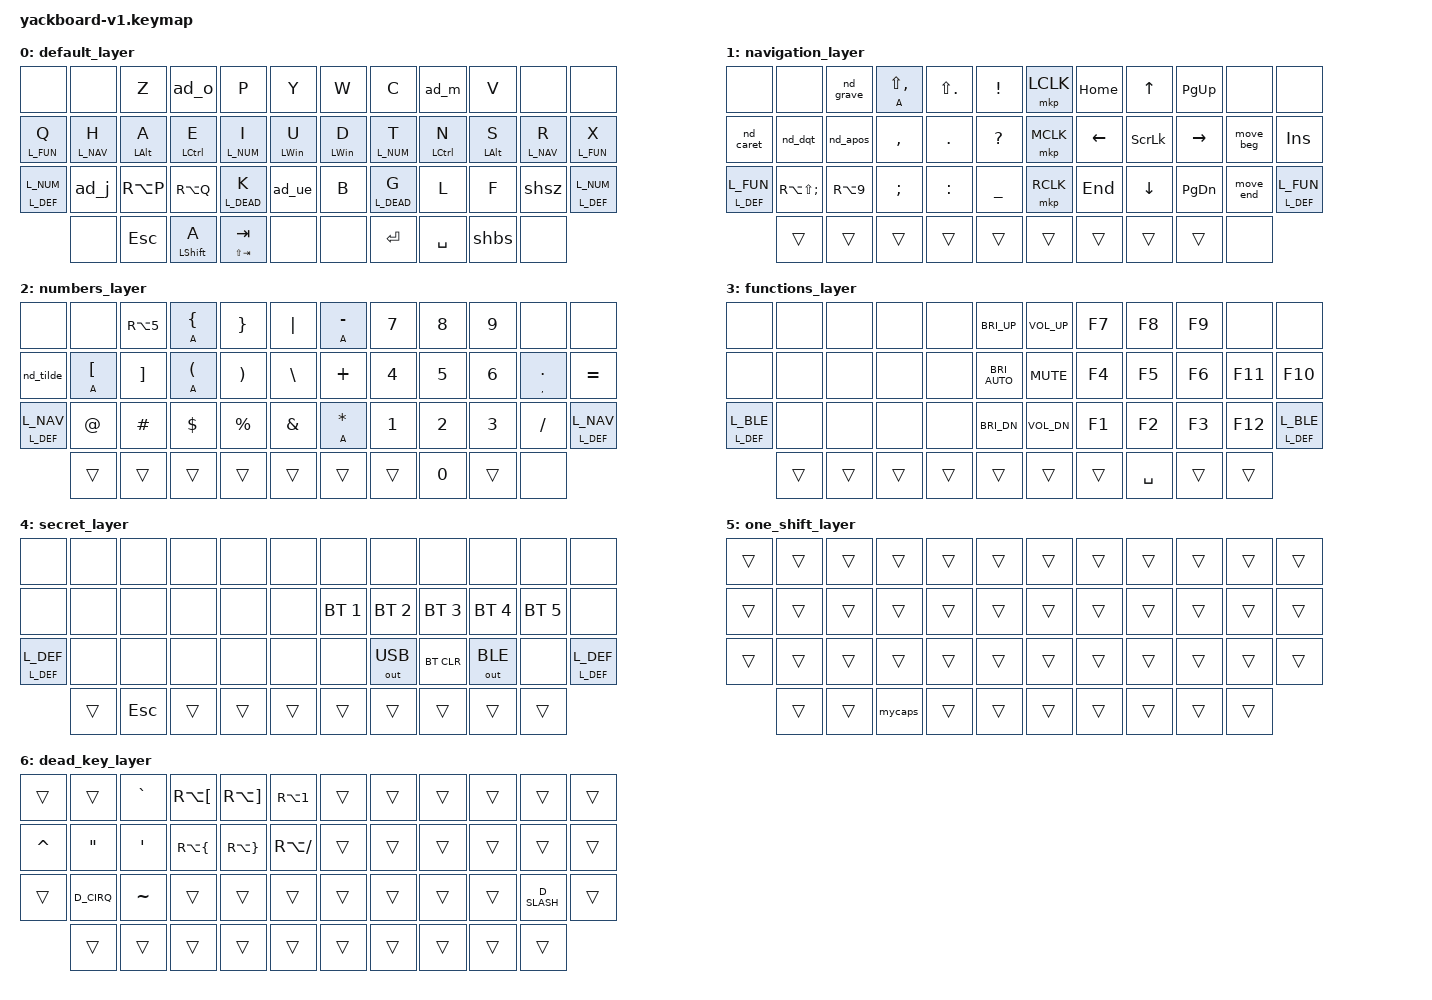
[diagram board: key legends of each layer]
// This is the key map of the Yackboard v1 with the improved OPY layout.

#include <behaviors.dtsi>
#include <dt-bindings/zmk/keys.h>
#include <dt-bindings/zmk/mouse.h>   // This is required when using &mkp mouse key events.
#include <dt-bindings/zmk/bt.h>      // This is required when using &bt bluetooth commands.
#include <dt-bindings/zmk/outputs.h> // This is required when using the &out output commands.

// The following are illegal keycodes (above 0x00ff) with usage page 0x07. They are automatically
// removed by the event handler of the "zmk,behavior-antecedent-morph" as soon as one such
// behavior is defined and so cannot print anything. But they can be used as antecedents in
// that behavior and modify the subsequent key. For example, the slash can act as a dead key
// and modify the subsequent o to an ø.
#define D_SLASH 0x070100
#define D_CIRQ  0x070101

// The position codes of the left, right and thumb keys:
#define POSITION_L  0  1  2  3  4  5 12 13 14 15 16 17 24 25 26 27 28 29
#define POSITION_R  6  7  8  9 10 11 18 19 20 21 22 23 30 31 32 33 34 35
#define POSITION_T 36 37 38 39 40 41 42 43 44 45

// The dedicated shift key has got the following functions:
// - If held down, it is the shift modifier. The modifier is immediately active, and so mouse buttons can be pressed together with shift (hold-while-undecided).
// - If held down, but no other key is tapped, it reverts to the default layer (note that this requires my version of th custom retro-tap patch.
// - If tapped once, it is a one-shot shift, i.e. applies shift to the subsequent key.
// - If tapped twice, it is my flavour of caps word, i.e. it capitalizes the subsequent word (including the underscore).
//
// This is implemented as follows:
// - First, there is a hold-tap with hold the LSHFT and tap the sticky key explained in the following. This hold-tap has a custom retro-tap behaviour which resets the layer to default.
// - The sticky key produces a one-shot version of a macro that applies the following two modifiers.
// - The shift modifier (for the one-shot shift) and the momentarily applied special layer L_SHF (which does nothing other than modifying the behaviour of the shift key) for the following reason:
// - On the special layer L_SHF the shift key is my flavour of caps-word - otherwise that layer is transparent. This implements the second tap behavior of the shift key.
// - The outer hold-tap has all features of urob's Timeless Homerow Mods that are explained in the subsequent block. In addition, there is hold-while-undecided and the custom retro-tap,
//   but to require-prior-idle-ms.

/ {
  macros {
    macro_shf: macro_layer_and_shift { // this macro applies the two modifiers when the shift key is tapped for the first time
      compatible = "zmk,behavior-macro";
      label = "MACRO_LAYER_AND_SHIFT";
      #binding-cells = <0>;
      wait-ms = <0>;
      tap-ms = <1>;
      bindings
      = <&macro_press   &mo L_SHF &kp LSHFT>
      , <&macro_pause_for_release>
      , <&macro_release &mo L_SHF &kp LSHFT>
      ;
    };
  };

  behaviors {
    sticky_shift: sticky_layer_and_shift { // this is the sticky behaviour of the macro when the dedicated shift key is pressed for the first time
      compatible = "zmk,behavior-sticky-key";
      label = "STICKY_LAYER_AND_SHIFT";
      #binding-cells = <1>;
      release-after-ms = <1000>;
      bindings = <&macro_shf>;
      ignore-modifiers;
    };
    hold_shift: hold_tap_shift { // this is the hold-tap for the dedicated shift key
      compatible = "zmk,behavior-hold-tap";
      label = "HOLD_TAP_SHIFT";
      #binding-cells = <2>;
      flavor = "balanced";
      tapping-term-ms = <280>;
      hold-while-undecided;
      bindings = <&kp>, <&sticky_shift>;
      retro-tap;
      retro-tap-behavior = "to_layer";
      retro-tap-param1 = <L_DEF>;
    };
    mycaps: behavior_my_caps_word { // my version of Caps Word includes the underscore as a letter.
      compatible = "zmk,behavior-caps-word";
      label = "MY_CAPS";
      #binding-cells = <0>;
      continue-list = <UNDER>;
    };
  };
};

// There are two variants of home row hold-tap modifiers: mod-tap for [Ctrl], [Alt] and [Win] and layer-tap for the keys
// that momentarily activate the number, navigation, function and dead key layers.
//
// If the tap binding is a key press, the key code is taken from the second parameter of the behavior. If the tap binding
// is another behavior, however, for example if the tap binding is an adaptive key, this must be defined as a separate
// behavior.
//
// The following ideas are from urob's Timeless Homerow Mods of https://github.com/urob/zmk-config:
//
// flavor = "balanced";
//   Tapping and releasing a second key triggers the hold behaviour even if the tapping-term-ms has not yet passed.
//
// require-prior-idle-ms = <150>;
//   The hold function can trigger only if at least this time has passed since the previous key press, i.e. when
//   typing fast, the hold function requires a tiny pause to activate.
//
// hold-trigger-key-positions = <...>;
//   All key position codes not listed here, i.e. those in the same block, require the full tapping-time-ms to
//   pass before the hold function can trigger.
//
// hold-trigger-on-release;
//   The tapping-time-ms for the hold-trigger-key-posititons is measured until the subsequent key is released,
//   i.e. it is possible to combine two modifiers on the same side of the key board and trigger a hold with
//   a third tapped key on the other side without waiting.
//
// tapping-term-ms = <280>;
//   In order to trigger a hold without pressing a second key or with pressing a key on the same side, this
//   period needs to pass.
//
// In addidion, I set a quick-tap time, and so if the key is tapped twice in rapid succession, the second key
// press is a tap even if the key is then held. This way, the key repeat function of the operating system
// can activete even on a hold-tap key.
//
// The following are all specializations of &ht.

/ {
  behaviors {
    mohtl: modifier_hold_tapl { // the home row modifiers on the left side
      compatible = "zmk,behavior-hold-tap";
      label = "MODIFIER_HOLD_TAP_L";
      #binding-cells = <2>;
      flavor = "balanced";
      tapping-term-ms = <280>;
      quick-tap-ms = <175>;
//      require-prior-idle-ms = <150>;
      hold-trigger-key-positions = <POSITION_R POSITION_T>;
      hold-trigger-on-release;
      bindings = <&kp>, <&kp>;
    };
    mohtr: modifier_hold_tapr { // the home row modifiers on the right side
      compatible = "zmk,behavior-hold-tap";
      label = "MODIFIER_HOLD_TAP_R";
      #binding-cells = <2>;
      flavor = "balanced";
      tapping-term-ms = <280>;
      quick-tap-ms = <175>;
//      require-prior-idle-ms = <150>;
      hold-trigger-key-positions = <POSITION_L POSITION_T>;
      hold-trigger-on-release;
      bindings = <&kp>, <&kp>;
    };
    mohta: modifier_hold_tapa { // the home row modifier for adaptive A
      compatible = "zmk,behavior-hold-tap";
      label = "MODIFIER_HOLD_TAP_A";
      #binding-cells = <2>;
      flavor = "balanced";
      tapping-term-ms = <280>;
      quick-tap-ms = <175>;
//      require-prior-idle-ms = <150>;
      hold-trigger-key-positions = <POSITION_R POSITION_T>;
      hold-trigger-on-release;
      bindings = <&kp>, <&ad_a>;
    };
    mohtu: modifier_hold_tapu { // the home row modifier for adaptive U
      compatible = "zmk,behavior-hold-tap";
      label = "MODIFIER_HOLD_TAP_U";
      #binding-cells = <2>;
      flavor = "balanced";
      tapping-term-ms = <280>;
      quick-tap-ms = <175>;
//      require-prior-idle-ms = <150>;
      hold-trigger-key-positions = <POSITION_R POSITION_T>;
      hold-trigger-on-release;
      bindings = <&kp>, <&ad_u>;
    };
    mohtn: modifier_hold_tapn { // the home row modifier for adaptive N
      compatible = "zmk,behavior-hold-tap";
      label = "MODIFIER_HOLD_TAP_N";
      #binding-cells = <2>;
      flavor = "balanced";
      tapping-term-ms = <280>;
      quick-tap-ms = <175>;
//      require-prior-idle-ms = <150>;
      hold-trigger-key-positions = <POSITION_L POSITION_T>;
      hold-trigger-on-release;
      bindings = <&kp>, <&ad_n>;
    };
    lyhtl: layer_hold_tapl { // the home row momentary layer keys on the left side
      compatible = "zmk,behavior-hold-tap";
      label = "LAYER_HOLD_TAP_L";
      #binding-cells = <2>;
      flavor = "balanced";
      tapping-term-ms = <280>;
      quick-tap-ms = <175>;
//      require-prior-idle-ms = <150>;
      hold-trigger-key-positions = <POSITION_R POSITION_T>;
      hold-trigger-on-release;
      bindings = <&mo>, <&kp>;
    };
    lyhtr: layer_hold_tapr { // the home row momentary layer keys on the right side
      compatible = "zmk,behavior-hold-tap";
      label = "LAYER_HOLD_TAP_R";
      #binding-cells = <2>;
      flavor = "balanced";
      tapping-term-ms = <280>;
      quick-tap-ms = <175>;
//      require-prior-idle-ms = <150>;
      hold-trigger-key-positions = <POSITION_L POSITION_T>;
      hold-trigger-on-release;
      bindings = <&mo>, <&kp>;
    };
    lyhtq: layer_hold_tapq { // the home row layer key for adaptive Q; note that instead of a key-press, this calls the macro for Qu and only in the retro-tap case a single Q
      compatible = "zmk,behavior-hold-tap";
      label = "LAYER_HOLD_TAPQ";
      #binding-cells = <2>;
      flavor = "balanced";
      tapping-term-ms = <280>;
      quick-tap-ms = <175>;
//      require-prior-idle-ms = <150>;
      hold-trigger-key-positions = <POSITION_R POSITION_T>;
      hold-trigger-on-release;
      bindings = <&mo>, <&qu_mod>;
      retro-tap;
      retro-tap-behavior = "key_press"; // this requiree the custom retro-tap patch; note that the alternative behaviour is defined using control strings such as this
      retro-tap-param1 = <Q>;
    };
    lyhth: layer_hold_taph { // the home row layer key for adaptive H
      compatible = "zmk,behavior-hold-tap";
      label = "LAYER_HOLD_TAPH";
      #binding-cells = <2>;
      flavor = "balanced";
      tapping-term-ms = <280>;
      quick-tap-ms = <175>;
//      require-prior-idle-ms = <150>;
      hold-trigger-key-positions = <POSITION_R POSITION_T>;
      hold-trigger-on-release;
      bindings = <&mo>, <&ad_h>;
    };
    lyhtg: layer_hold_tapg { // the home row layer key for adaptive G
      compatible = "zmk,behavior-hold-tap";
      label = "LAYER_HOLD_TAPG";
      #binding-cells = <2>;
      flavor = "balanced";
      tapping-term-ms = <280>;
      quick-tap-ms = <175>;
//      require-prior-idle-ms = <150>;
      hold-trigger-key-positions = <POSITION_L POSITION_T>;
      hold-trigger-on-release;
      bindings = <&mo>, <&ad_g>;
    };
    lyhtx: layer_hold_tapx { // the home row layer key for adaptive X
      compatible = "zmk,behavior-hold-tap";
      label = "LAYER_HOLD_TAPX";
      #binding-cells = <2>;
      flavor = "balanced";
      tapping-term-ms = <280>;
      quick-tap-ms = <175>;
//      require-prior-idle-ms = <150>;
      hold-trigger-key-positions = <POSITION_L POSITION_T>;
      hold-trigger-on-release;
      bindings = <&mo>, <&ad_x>;
    };
  };
};

// The dedicated layer cycle keys switch layers or, if held down, revert to the basic layer.

/ {
  behaviors {
    ltt: layer_to_tap { // the layer switch key on the right half is &to if tapped and &to if held down
      compatible = "zmk,behavior-hold-tap";
      label = "LAYER_TO_TAP";
      #binding-cells = <2>;
      tapping-term-ms = <200>;
      bindings = <&to>, <&to>;
    };
  };
};

// There are a few keys that use the hold-tap function in order to issue a different symbol if held longer.

/ {
  behaviors {
    ht: hold_tap_general {
      compatible = "zmk,behavior-hold-tap";
      label = "HOLD_TAP_GENERAL";
      #binding-cells = <2>;
      flavor = "balanced";
      quick-tap-ms = <175>;
      tapping-term-ms = <200>;
      bindings = <&kp>, <&kp>;
    };
  };
};

// On the navigation layer, there are two special keys that issue the Emacs commands for beginning and end of document.

/ {
  macros {
    move_beg: meta_less_than {
      label = "M-<";
      compatible = "zmk,behavior-macro";
      #binding-cells = <0>;
      bindings = <&macro_tap &kp ESC &kp LESS_THAN>;
    };
    move_end: meta_greater_than {
      label = "M->";
      compatible = "zmk,behavior-macro";
      #binding-cells = <0>;
      bindings = <&macro_tap &kp ESC &kp GREATER_THAN>;
    };
  };
};

// For some keys, the shifted variant is constructed manually.

/ {
  behaviors {
    shbs: shift_backspace { // the backspace key with [Shift] is [Del]
      compatible = "zmk,behavior-mod-morph";
      label = "SHIFT_BACKSPACE";
      #binding-cells = <0>;
      bindings = <&kp BSPC>, <&kp DEL>;
      mods = <(MOD_LSFT|MOD_RSFT)>;
    };
    shsz: shift_sz { // the [ß] with [Shift] is the [§] sign
      compatible = "zmk,behavior-mod-morph";
      label = "SHIFT_SZ";
      #binding-cells = <0>;
      bindings = <&kp RA(S)>, <&kp RA(LS(S))>;
      mods = <(MOD_LSFT|MOD_RSFT)>;
    };
  };
};

// The diacritics on the navigation and punctuation layer are non-dead. This is implemented by sending a sequence of
// first the diacritic and then a spcace.

/ {
  macros {
    nd_grave: non_dead_grave { // non-dead version of the grave accent
      label = "NON_DEAD_GRAVE";
      compatible = "zmk,behavior-macro";
      #binding-cells = <0>;
      bindings = <&macro_tap &kp GRAVE &kp SPACE>;
    };
    nd_apos: non_dead_apostrophe { // non-dead version of the apostrophe (which otherwise plays the role of the acute accent)
      label = "NON_DEAD_APOSTROPHE";
      compatible = "zmk,behavior-macro";
      #binding-cells = <0>;
      bindings = <&macro_tap &kp APOS &kp SPACE>;
    };
    nd_dqt: non_dead_doublequote { // non-dead version of the double quote
      label = "NON_DEAD_DOUBLEQUOTE";
      compatible = "zmk,behavior-macro";
      #binding-cells = <0>;
      bindings = <&macro_tap &kp DQT &kp SPACE>;
    };
    nd_caret: non_dead_caret { // non-dead version of the caret
      label = "NON_DEAD_CARET";
      compatible = "zmk,behavior-macro";
      #binding-cells = <0>;
      bindings = <&macro_tap &kp CARET &kp SPACE>;
    };
    nd_tilde: non_dead_tilde { // non-dead version of the tilde
      label = "NON_DEAD_TILDE";
      compatible = "zmk,behavior-macro";
      #binding-cells = <0>;
      bindings = <&macro_tap &kp TILDE &kp SPACE>;
    };
  };
};

// On the number layer, there are hold-tap keys that send some of these non-dead diacritics.

/ {
  behaviors {
    ht_apos: hold_tap_apostrophe { // a hold-tap that sends the non-dead apostrophe on hold.
      compatible = "zmk,behavior-hold-tap";
      label = "HOLD_TAP_APOSTROPHE";
      #binding-cells = <2>;
      flavor = "balanced";
      tapping-term-ms = <200>;
      bindings = <&nd_apos>, <&kp>;
    };
    ht_caret: hold_tap_caret { // a hold-tap that sends the non-dead caret on hold.
      compatible = "zmk,behavior-hold-tap";
      label = "HOLD_TAP_CARET";
      #binding-cells = <2>;
      flavor = "balanced";
      tapping-term-ms = <200>;
      bindings = <&nd_caret>, <&kp>;
    };
  };
};

// The following macros produce pairs of brackets and place the cursor in between.

/ {
  macros {
    br_par: pair_parentheses {
      label = "PAIR_PARENTHESES";
      compatible = "zmk,behavior-macro";
      #binding-cells = <0>;
      bindings = <&macro_tap &kp LPAR &kp RPAR &kp LEFT>;
    };
    br_bkt: pair_brackets {
      label = "PAIR_BRACKETS";
      compatible = "zmk,behavior-macro";
      #binding-cells = <0>;
      bindings = <&macro_tap &kp LBKT &kp RBKT &kp LEFT>;
    };
    br_brc: pair_braces {
      label = "PAIR_BRACES";
      compatible = "zmk,behavior-macro";
      #binding-cells = <0>;
      bindings = <&macro_tap &kp LBRC &kp RBRC &kp LEFT>;
    };
    br_ang: pair_angular {
      label = "PAIR_ANGULAR";
      compatible = "zmk,behavior-macro";
      #binding-cells = <0>;
      bindings = <&macro_tap &kp LS(COMMA) &kp LS(DOT) &kp LEFT>;
    };
  };
  behaviors {
    ht_par: hold_tap_parentheses {
      compatible = "zmk,behavior-hold-tap";
      label = "HOLD_TAP_PARENTHESES";
      #binding-cells = <2>;
      flavor = "balanced";
      tapping-term-ms = <200>;
      bindings = <&br_par>, <&kp>;
    };
    ht_bkt: hold_tap_brackets {
      compatible = "zmk,behavior-hold-tap";
      label = "HOLD_TAP_BRACKETS";
      #binding-cells = <2>;
      flavor = "balanced";
      tapping-term-ms = <200>;
      bindings = <&br_bkt>, <&kp>;
    };
    ht_brc: hold_tap_braces {
      compatible = "zmk,behavior-hold-tap";
      label = "HOLD_TAP_BRACES";
      #binding-cells = <2>;
      flavor = "balanced";
      tapping-term-ms = <200>;
      bindings = <&br_brc>, <&kp>;
    };
    ht_ang: hold_tap_angular {
      compatible = "zmk,behavior-hold-tap";
      label = "HOLD_TAP_ANGULAR";
      #binding-cells = <2>;
      flavor = "balanced";
      tapping-term-ms = <200>;
      bindings = <&br_ang>, <&kp>;
    };
  };
};

// Adaptive keys (fast, 250 ms) in order to avoid same finger bigrams.

/ {
  behaviors {
    ad_m: adaptive_m {
      compatible = "zmk,behavior-antecedent-morph";
      label = "ADAPTIVE_M";
      #binding-cells = <0>;
      defaults = <&kp M>;
      bindings = <&kp L>;
      max-delay-ms = <250>;
      antecedents = <C>;
    };
    ad_h: adaptive_h {
      compatible = "zmk,behavior-antecedent-morph";
      label = "ADAPTIVE_H";
      #binding-cells = <0>;
      defaults = <&kp H>;
      bindings = <&kp I>;
      max-delay-ms = <250>;
      antecedents = <K>;
    };
    ad_u: adaptive_u {
      compatible = "zmk,behavior-antecedent-morph";
      label = "ADAPTIVE_U";
      #binding-cells = <0>;
      defaults = <&kp U>;
      bindings = <&kp O>;
      max-delay-ms = <250>;
      antecedents = <Y>;
    };
    ad_n: adaptive_n {
      compatible = "zmk,behavior-antecedent-morph";
      label = "ADAPTIVE_N";
      #binding-cells = <0>;
      defaults = <&kp N>;
      bindings = <&kp U>;
      max-delay-ms = <250>;
      antecedents = <P>;
    };
    ad_x: adaptive_x {
      compatible = "zmk,behavior-antecedent-morph";
      label = "ADAPTIVE_X";
      #binding-cells = <0>;
      defaults = <&kp X>;
      bindings = <&kp M>;
      max-delay-ms = <250>;
      antecedents = <N>;
    };
    ad_j: adaptive_j {
      compatible = "zmk,behavior-antecedent-morph";
      label = "ADAPTIVE_J";
      #binding-cells = <0>;
      defaults = <&kp J>;
      bindings = <&kp U>;
      max-delay-ms = <250>;
      antecedents = <K>;
    };
    ad_ue: adaptive_ue {
      compatible = "zmk,behavior-antecedent-morph";
      label = "ADAPTIVE_UE";
      #binding-cells = <0>;
      defaults = <&kp RA(Y)>;
      bindings = <&kp P>;
      max-delay-ms = <250>;
      antecedents = <U>;
    };
    ad_g: adaptive_g {
      compatible = "zmk,behavior-antecedent-morph";
      label = "ADAPTIVE_G";
      #binding-cells = <0>;
      defaults = <&kp G>;
      bindings = <&kp L>;
      max-delay-ms = <250>;
      antecedents = <B>;
    };
  };
};

// Adaptive keys (slow, 1 sec) that implement additional dead keys.

/ {
  behaviors {
    ad_o: adaptive_o { // implements the dead slash
      compatible = "zmk,behavior-antecedent-morph";
      label = "ADAPTIVE_O";
      #binding-cells = <0>;
      defaults = <&kp O>;
      bindings = <&kp RA(L)>;
      max-delay-ms = <1000>;
      antecedents = <D_SLASH>;
    };
    ad_a: adaptive_a { // implements the dead circle
      compatible = "zmk,behavior-antecedent-morph";
      label = "ADAPTIVE_A";
      #binding-cells = <0>;
      defaults = <&kp A>;
      bindings = <&kp RA(W)>;
      max-delay-ms = <1000>;
      antecedents = <D_CIRQ>;
    };
  };
};

// Special treatment of Q

/ {
  macros {
    qu_low: qu_lowercase {
      label = "QU_LOWERCASE";
      compatible = "zmk,behavior-macro";
      #binding-cells = <0>;
      bindings = <&macro_tap &kp Q &kp U>;
    };
    qu_upp: qu_uppercase {
      label = "QU_UPPERCASE";
      compatible = "zmk,behavior-macro";
      #binding-cells = <0>;
      wait-ms = <150>;
      bindings = <&macro_tap &kp LS(Q) &kp U>;
    };
  };
  behaviors {
    qu_mod: qu_modifier {
      compatible = "zmk,behavior-mod-morph";
      label = "QU_MODIFIER";
      #binding-cells = <0>;
      bindings = <&qu_low>, <&qu_upp>;
      mods = <(MOD_LSFT|MOD_RSFT)>;
    };
  };
};

/ {
  keymap {
    compatible = "zmk,keymap";

// The numbers are the position codes of the Yackboard v1:
//
// +-------+-------+-------+-------+-------+-------+       +-------+-------+-------+-------+-------+-------+
// |    0  |    1  |    2  |    3  |    4  |    5  |       |    6  |       |       |       |       |   11  |
// +-------+-------+-------+-------+-------+-------+       +-------+-------+-------+-------+-------+-------+
// |   12  |       |       |       |       |   17  |       |   18  |       |       |       |       |   23  |
// +-------+-------+-------+-------+-------+-------+       +-------+-------+-------+-------+-------+-------+
// |   24  |       |       |       |       |   29  |       |   30  |       |       |       |       |   35  |
// +-------+-------+-------+-------+-------+-------+       +-------+-------+-------+-------+-------+-------+
//         |   36  |       |       |       |   40  |       |   41  |       |       |       |   45  |
//         +-------+-------+-------+-------+-------+       +-------+-------+-------+-------+-------+

    default_layer { // #define L_DEF 0
      bindings = <
    &none             &none            &kp Z         &ad_o               &kp P           &kp Y          &kp W            &kp C           &ad_m          &kp V         &none          &none
    &lyhtq L_FUN Q    &lyhth L_NAV H   &mohta LALT A &mohtl LCTRL E      &lyhtl L_NUM I  &mohtu LWIN U  &mohtr LWIN D    &lyhtr L_NUM T  &mohtn LCTRL N &mohtr LALT S &lyhtr L_NAV R &lyhtx L_FUN X
    &ltt L_DEF L_NUM  &ad_j            &kp RA(P)     &kp RA(Q)           &lyhtl L_DEAD K &ad_ue         &kp B            &lyhtg L_DEAD G &kp L          &kp F         &shsz          &ltt L_DEF L_NUM
                      &none            &kp ESC       &hold_shift LSHFT A &ht LS(TAB) TAB &none          &none            &kp RET         &kp SPACE      &shbs         &none
        >;
    };

    navigation_layer { // #define L_NAV 1
      bindings = <
    &none             &none            &nd_grave    &ht_ang A LS(COMMA) &kp LS(DOT)     &kp EXCL       &mkp LCLK        &kp HOME       &kp UP        &kp PG_UP    &none          &none
    &nd_caret         &nd_dqt          &nd_apos     &kp COMMA           &kp DOT         &kp QMARK      &mkp MCLK        &kp LEFT       &kp SLCK      &kp RIGHT    &move_beg      &kp INS
    &ltt L_DEF L_FUN  &kp RA(LS(SEMI)) &kp RA(N9)   &kp SEMI            &kp COLON       &kp UNDER      &mkp RCLK        &kp END        &kp DOWN      &kp PG_DN    &move_end      &ltt L_DEF L_FUN
                      &trans           &trans       &trans              &trans          &trans         &trans           &trans         &trans        &trans       &none
      >;
    };

    numbers_layer { // #define L_NUM 2
      bindings = <
    &none             &none            &kp RA(N5)   &ht_brc A LBRC      &kp RBRC        &kp PIPE       &ht_apos A MINUS &kp N7         &kp N8        &kp N9       &none         &none
    &nd_tilde         &ht_bkt A LBKT   &kp RBKT     &ht_par A LPAR      &kp RPAR        &kp BSLH       &kp PLUS         &kp N4         &kp N5        &kp N6       &ht COMMA DOT &kp EQUAL
    &ltt L_DEF L_NAV  &kp AT           &kp HASH     &kp DLLR            &kp PRCNT       &kp AMPS       &ht_caret A STAR &kp N1         &kp N2        &kp N3       &kp SLASH     &ltt L_DEF L_NAV
                      &trans           &trans       &trans              &trans          &trans         &trans           &trans         &kp N0        &trans       &none
      >;
    };

    functions_layer { // #define L_FUN 3
      bindings = <
    &none             &none            &none        &none               &none           &kp C_BRI_UP   &kp K_VOL_UP     &kp F7         &kp F8        &kp F9       &none         &none
    &none             &none            &none        &none               &none           &kp C_BRI_AUTO &kp K_MUTE       &kp F4         &kp F5        &kp F6       &kp F11       &kp F10
    &ltt L_DEF L_BLE  &none            &none        &none               &none           &kp C_BRI_DN   &kp K_VOL_DN     &kp F1         &kp F2        &kp F3       &kp F12       &ltt L_DEF L_BLE
                      &trans           &trans       &trans              &trans          &trans         &trans           &trans         &kp SPACE     &trans       &trans
      >;
    };

    secret_layer { // #define L_BLE 4
      bindings = <
    &none             &none            &none        &none               &none           &none          &none            &none          &none         &none        &none         &none
    &none             &none            &none        &none               &none           &none          &bt BT_SEL 1     &bt BT_SEL 2   &bt BT_SEL 3  &bt BT_SEL 4 &bt BT_SEL 5  &none
    &ltt L_DEF L_DEF  &none            &none        &none               &none           &none          &none            &out OUT_USB   &bt BT_CLR    &out OUT_BLE &none         &ltt L_DEF L_DEF
                      &trans           &kp ESC      &trans              &trans          &trans         &trans           &trans         &trans        &trans       &trans
      >;
    };

    one_shift_layer { // #define L_SHF 5
      bindings = <
    &trans            &trans           &trans       &trans              &trans          &trans         &trans           &trans         &trans        &trans       &trans        &trans
    &trans            &trans           &trans       &trans              &trans          &trans         &trans           &trans         &trans        &trans       &trans        &trans
    &trans            &trans           &trans       &trans              &trans          &trans         &trans           &trans         &trans        &trans       &trans        &trans
                      &trans           &trans       &mycaps             &trans          &trans         &trans           &trans         &trans        &trans       &trans
      >;
    };

    dead_key_layer { // #define L_DEAD 6
      bindings = <
    &trans            &trans           &kp GRAVE    &kp RA(LBKT)        &kp RA(RBKT)    &kp RA(N1)     &trans           &trans         &trans        &trans       &trans        &trans
    &kp CARET         &kp DQT          &kp APOS     &kp RA(LBRC)        &kp RA(RBRC)    &kp RA(SLASH)  &trans           &trans         &trans        &trans       &trans        &trans
    &trans            &kp D_CIRQ       &kp TILDE    &trans              &trans          &trans         &trans           &trans         &trans        &trans       &kp D_SLASH   &trans
                      &trans           &trans       &trans              &trans          &trans         &trans           &trans         &trans        &trans       &trans
      >;
    };
  };
};
